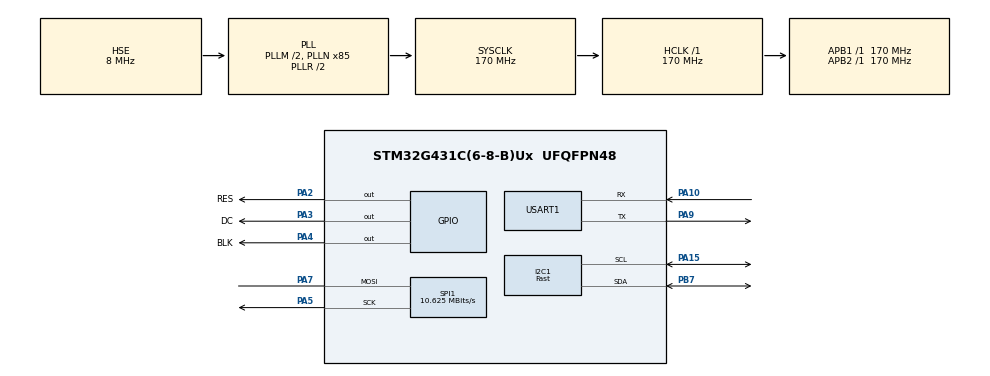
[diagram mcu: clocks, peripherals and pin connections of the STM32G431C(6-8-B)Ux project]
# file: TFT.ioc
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Dma.I2C1_RX.1.Direction=DMA_PERIPH_TO_MEMORY
Dma.I2C1_RX.1.EventEnable=DISABLE
Dma.I2C1_RX.1.Instance=DMA1_Channel2
Dma.I2C1_RX.1.MemDataAlignment=DMA_MDATAALIGN_BYTE
Dma.I2C1_RX.1.MemInc=DMA_MINC_ENABLE
Dma.I2C1_RX.1.Mode=DMA_NORMAL
Dma.I2C1_RX.1.PeriphDataAlignment=DMA_PDATAALIGN_BYTE
Dma.I2C1_RX.1.PeriphInc=DMA_PINC_DISABLE
Dma.I2C1_RX.1.Polarity=HAL_DMAMUX_REQ_GEN_RISING
Dma.I2C1_RX.1.Priority=DMA_PRIORITY_LOW
Dma.I2C1_RX.1.RequestNumber=1
Dma.I2C1_RX.1.SignalID=NONE
Dma.I2C1_RX.1.SyncEnable=DISABLE
Dma.I2C1_RX.1.SyncPolarity=HAL_DMAMUX_SYNC_NO_EVENT
Dma.I2C1_RX.1.SyncRequestNumber=1
Dma.I2C1_RX.1.SyncSignalID=NONE
Dma.I2C1_TX.0.Direction=DMA_MEMORY_TO_PERIPH
Dma.I2C1_TX.0.EventEnable=DISABLE
Dma.I2C1_TX.0.Instance=DMA1_Channel1
Dma.I2C1_TX.0.MemDataAlignment=DMA_MDATAALIGN_BYTE
Dma.I2C1_TX.0.MemInc=DMA_MINC_ENABLE
Dma.I2C1_TX.0.Mode=DMA_NORMAL
Dma.I2C1_TX.0.PeriphDataAlignment=DMA_PDATAALIGN_BYTE
Dma.I2C1_TX.0.PeriphInc=DMA_PINC_DISABLE
Dma.I2C1_TX.0.Polarity=HAL_DMAMUX_REQ_GEN_RISING
Dma.I2C1_TX.0.Priority=DMA_PRIORITY_LOW
Dma.I2C1_TX.0.RequestNumber=1
Dma.I2C1_TX.0.SignalID=NONE
Dma.I2C1_TX.0.SyncEnable=DISABLE
Dma.I2C1_TX.0.SyncPolarity=HAL_DMAMUX_SYNC_NO_EVENT
Dma.I2C1_TX.0.SyncRequestNumber=1
Dma.I2C1_TX.0.SyncSignalID=NONE
Dma.Request0=I2C1_TX
Dma.Request1=I2C1_RX
I2C1.CustomTiming=Disabled
I2C1.I2C_Speed_Mode=I2C_Fast
I2C1.Speed=400
I2C1.Timing=0x40621236
Mcu.Family=STM32G4
Mcu.Name=STM32G431C(6-8-B)Ux
Mcu.Package=UFQFPN48
NVIC.DMA1_Channel1_IRQn=true\:1\:0\:true\:false\:true\:false\:true\:true
NVIC.DMA1_Channel2_IRQn=true\:1\:0\:true\:false\:true\:false\:true\:true
NVIC.I2C1_ER_IRQn=true\:2\:0\:true\:false\:true\:true\:true\:true
NVIC.I2C1_EV_IRQn=true\:2\:0\:true\:false\:true\:true\:true\:true
NVIC.PriorityGroup=NVIC_PRIORITYGROUP_2
NVIC.TIM6_DAC_IRQn=true\:2\:2\:true\:false\:true\:true\:true\:true
PA10.GPIO_Speed=GPIO_SPEED_FREQ_VERY_HIGH
PA10.Mode=Asynchronous
PA10.Signal=USART1_RX
PA13.Mode=Serial_Wire
PA13.Signal=SYS_JTMS-SWDIO
PA14.Mode=Serial_Wire
PA14.Signal=SYS_JTCK-SWCLK
PA15.Mode=I2C
PA15.Signal=I2C1_SCL
PA2.GPIO_Label=RES
PA2.GPIO_PuPd=GPIO_PULLUP
PA2.GPIO_Speed=GPIO_SPEED_FREQ_VERY_HIGH
PA2.PinState=GPIO_PIN_SET
PA2.Signal=GPIO_Output
PA3.GPIO_Label=DC
PA3.GPIO_PuPd=GPIO_PULLUP
PA3.GPIO_Speed=GPIO_SPEED_FREQ_VERY_HIGH
PA3.PinState=GPIO_PIN_SET
PA3.Signal=GPIO_Output
PA4.GPIO_Label=BLK
PA4.GPIO_PuPd=GPIO_PULLUP
PA4.GPIO_Speed=GPIO_SPEED_FREQ_VERY_HIGH
PA4.PinState=GPIO_PIN_SET
PA4.Signal=GPIO_Output
PA5.Mode=Simplex_Bidirectional_Master
PA5.Signal=SPI1_SCK
PA7.Mode=Simplex_Bidirectional_Master
PA7.Signal=SPI1_MOSI
PA9.GPIO_Speed=GPIO_SPEED_FREQ_VERY_HIGH
PA9.Mode=Asynchronous
PA9.Signal=USART1_TX
PB7.Mode=I2C
PB7.Signal=I2C1_SDA
PF0-OSC_IN.Mode=HSE-External-Oscillator
PF0-OSC_IN.Signal=RCC_OSC_IN
PF1-OSC_OUT.Mode=HSE-External-Oscillator
PF1-OSC_OUT.Signal=RCC_OSC_OUT
ProjectManager.HeapSize=0x200
ProjectManager.StackSize=0x400
ProjectManager.TargetToolchain=MDK-ARM V5.32
RCC.ADC12Freq_Value=170000000
RCC.AHBFreq_Value=170000000
RCC.APB1Freq_Value=170000000
RCC.APB1TimFreq_Value=170000000
RCC.APB2Freq_Value=170000000
RCC.APB2TimFreq_Value=170000000
RCC.CortexFreq_Value=170000000
RCC.EXTERNAL_CLOCK_VALUE=12288000
RCC.HCLKFreq_Value=170000000
RCC.HSE_VALUE=8000000
RCC.HSI48_VALUE=48000000
RCC.HSI_VALUE=16000000
RCC.LSE_VALUE=32768
RCC.PLLM=RCC_PLLM_DIV2
RCC.PLLN=85
RCC.PLLSourceVirtual=RCC_PLLSOURCE_HSE
RCC.SYSCLKFreq_VALUE=170000000
RCC.SYSCLKSource=RCC_SYSCLKSOURCE_PLLCLK
RCC.USBFreq_Value=170000000
RCC.VCOOutputFreq_Value=340000000
SPI1.BaudRatePrescaler=SPI_BAUDRATEPRESCALER_16
SPI1.CalculateBaudRate=10.625 MBits/s
SPI1.DataSize=SPI_DATASIZE_8BIT
SPI1.Direction=SPI_DIRECTION_1LINE
SPI1.Mode=SPI_MODE_MASTER
SPI1.VirtualType=VM_MASTER
TIM6.AutoReloadPreload=TIM_AUTORELOAD_PRELOAD_ENABLE
TIM6.PeriodNoDither=1000 - 1
TIM6.Prescaler=170 - 1
USART1.VirtualMode-Asynchronous=VM_ASYNC
VP_SYS_VS_DBSignals.Mode=DisableDeadBatterySignals
VP_TIM6_VS_ClockSourceINT.Mode=Enable_Timer
board=custom

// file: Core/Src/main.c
/* USER CODE BEGIN Header */
/**
  ******************************************************************************
  * @file           : main.c
  * @brief          : Main program body
  ******************************************************************************
  * @attention
  *
  * Copyright (c) 2025 STMicroelectronics.
  * All rights reserved.
  *
  * This software is licensed under terms that can be found in the LICENSE file
  * in the root directory of this software component.
  * If no LICENSE file comes with this software, it is provided AS-IS.
  *
  ******************************************************************************
  */
/* USER CODE END Header */
#include "main.h"
#include "dma.h"
#include "i2c.h"
#include "spi.h"
#include "tim.h"
#include "usart.h"
#include "gpio.h"

void SystemClock_Config(void);

/* USER CODE BEGIN 0 */
#include <stdio.h>
#include "../BSP/LCD/lcd.h"
#include "../BSP/LCD/pic.h"
#include "../BSP/AS5600/as5600.h"
#include "../BSP/KEY/key.h"
/* USER CODE END 0 */

int main(void)
{

  /* MCU Configuration--------------------------------------------------------*/

  /* Reset of all peripherals, Initializes the Flash interface and the Systick. */
  HAL_Init();

  /* Configure the system clock */
  SystemClock_Config();

  /* Initialize all configured peripherals */
  MX_GPIO_Init();
  MX_DMA_Init();
  MX_SPI1_Init();
  MX_USART1_UART_Init();
  MX_I2C1_Init();
  MX_TIM6_Init();
  /* USER CODE BEGIN 2 */
//	LCD_Init();
//	LCD_Fill(0,0,LCD_W,LCD_H,WHITE);

	keyInit();
	uint8_t i,j;
	double  t=0;
	LCD_Init();
	LCD_Fill(0,0,LCD_W,LCD_H,BLACK);
	LCD_ShowString(10,10,"ST7789 OK",RED,BLACK,16,0);
	printf("hello world\r\n");

	HAL_Delay(1000);
	uint8_t status;
	HAL_I2C_Mem_Read(&hi2c1, AS5600_ADDRESS, 0x0B, I2C_MEMADD_SIZE_8BIT, &status, 1, 100);
	printf("STATUS = 0x%02X  MD=%d ML=%d MH=%d\n",  status,
													(status >> 5) & 1,
													(status >> 6) & 1,
													(status >> 7) & 1);
	if (status & 0x80)
	{
		printf("MH=1 磁场太强！角度无效\n");
	}
	else if (status & 0x40)
	{
		printf("ML=1 磁场太弱！角度不准\n");
	}
	else if (!(status & 0x20))
	{
		printf("MD=0 数据未更新\n");
	}
	else
	{
		printf("磁场正常，可以读角度\n");
	}
	as5600SetZeroPosition();
	as5600ReadDMA(Angle_Hight_Register_Addr, data, DATA_SIZE);  // 启动I2C DMA接收
  /* USER CODE END 2 */

  /* Infinite loop */
  while (1)
  {

    /* USER CODE BEGIN 3 */
//    LCD_ShowChinese(0,0,"zjydz",RED,WHITE,32,0);
//	LCD_ShowString(0,40,"LCD_W:",RED,WHITE,16,0);
//	LCD_ShowIntNum(48,40,LCD_W,3,RED,WHITE,16);
//	LCD_ShowString(80,40,"LCD_H:",RED,WHITE,16,0);
//	LCD_ShowIntNum(128,40,LCD_H,3,RED,WHITE,16);
//	LCD_ShowString(80,40,"LCD_H:",RED,WHITE,16,0);
//	LCD_ShowString(0,70,"Increaseing Nun:",RED,WHITE,16,0);
//	LCD_ShowFloatNum1(128,70,t,4,RED,WHITE,16);
//	t+=0.11;
//	for(j=0;j<3;j++)
//	{
//		for(i=0;i<6;i++)
//		{
//			LCD_ShowPicture(40*i,120+j*40,40,40,gImage_1);
//		}
//	}
//
    //我的硬件是逆时针递减  即使DIR是3.3 应该是磁环安装反了 但是我的硬件没办法拆下磁环
//	printf("angleWithoutCircle:%.4f\r\nangleWithoutCircle:%.4f\r\nfullRotations:%d\r\n", angleWithoutCircle, angleWithCircle, fullRotations);
//	HAL_Delay(100);

//按键按住不放测试，有点类似重复，但重复是有规律的进行判断按键，这里则不是，只要按下就会进入if
//	if (keyCheck(KEY_1, KEY_HOLD))
//	{
//		printf("KEY1_HOLD\r\n");
//	}
//	if (keyCheck(KEY_2, KEY_HOLD))
//	{
//		printf("KEY2_HOLD\r\n");
//	}
//	if (keyCheck(KEY_3, KEY_HOLD))
//	{
//		printf("KEY3_HOLD\r\n");
//	}
//	if (keyCheck(KEY_4, KEY_HOLD))
//	{
//		printf("KEY4_HOLD\r\n");
//	}
//	if (keyCheck(KEY_5, KEY_HOLD))
//	{
//		printf("KEY5_HOLD\r\n");
//	}
//	if (keyCheck(KEY_6, KEY_HOLD))
//	{
//		printf("KEY6_HOLD\r\n");
//	}
//	if (keyCheck(KEY_7, KEY_HOLD))
//	{
//		printf("KEY7_HOLD\r\n");
//	}
//	if (keyCheck(KEY_8, KEY_HOLD))
//	{
//		printf("KEY8_HOLD\r\n");
//	}
//按键弹起测试
//	if (keyCheck(KEY_1, KEY_UP))
//	{
//		printf("KEY1_UP\r\n");
//	}
//	if (keyCheck(KEY_2, KEY_UP))
//	{
//		printf("KEY2_UP\r\n");
//	}
//	if (keyCheck(KEY_3, KEY_UP))
//	{
//		printf("KEY3_UP\r\n");
//	}
//	if (keyCheck(KEY_4, KEY_UP))
//	{
//		printf("KEY4_UP\r\n");
//	}
//	if (keyCheck(KEY_5, KEY_UP))
//	{
//		printf("KEY5_UP\r\n");
//	}
//	if (keyCheck(KEY_6, KEY_UP))
//	{
//		printf("KEY6_UP\r\n");
//	}
//	if (keyCheck(KEY_7, KEY_UP))
//	{
//		printf("KEY7_UP\r\n");
//	}
//	if (keyCheck(KEY_8, KEY_UP))
//	{
//		printf("KEY8_UP\r\n");
//	}
//按键按下测试
//	if (keyCheck(KEY_1, KEY_DOWN))
//	{
//		printf("KEY1_DOWN\r\n");
//	}
//	if (keyCheck(KEY_2, KEY_DOWN))
//	{
//		printf("KEY2_DOWN\r\n");
//	}
//	if (keyCheck(KEY_3, KEY_DOWN))
//	{
//		printf("KEY3_DOWN\r\n");
//	}
//	if (keyCheck(KEY_4, KEY_DOWN))
//	{
//		printf("KEY4_DOWN\r\n");
//	}
//	if (keyCheck(KEY_5, KEY_DOWN))
//	{
//		printf("KEY5_DOWN\r\n");
//	}
//	if (keyCheck(KEY_6, KEY_DOWN))
//	{
//		printf("KEY6_DOWN\r\n");
//	}
//	if (keyCheck(KEY_7, KEY_DOWN))
//	{
//		printf("KEY7_DOWN\r\n");
//	}
//	if (keyCheck(KEY_8, KEY_DOWN))
//	{
//		printf("KEY8_DOWN\r\n");
//	}
//按键单击测试
//	if (keyCheck(KEY_1, KEY_SINGLE))
//	{
//		printf("KEY1_SINGLE\r\n");
//	}
//	if (keyCheck(KEY_2, KEY_SINGLE))
//	{
//		printf("KEY2_SINGLE\r\n");
//	}
//	if (keyCheck(KEY_3, KEY_SINGLE))
//	{
//		printf("KEY3_SINGLE\r\n");
//	}
//	if (keyCheck(KEY_4, KEY_SINGLE))
//	{
//		printf("KEY4_SINGLE\r\n");
//	}
//	if (keyCheck(KEY_5, KEY_SINGLE))
//	{
//		printf("KEY5_SINGLE\r\n");
//	}
//	if (keyCheck(KEY_6, KEY_SINGLE))
//	{
//		printf("KEY6_SINGLE\r\n");
//	}
//	if (keyCheck(KEY_7, KEY_SINGLE))
//	{
//		printf("KEY7_SINGLE\r\n");
//	}
//	if (keyCheck(KEY_8, KEY_SINGLE))
//	{
//		printf("KEY8_SINGLE\r\n");
//	}
//按键双击测试
//	if (keyCheck(KEY_1, KEY_DOUBLE))
//	{
//		printf("KEY1_DOUBLE\r\n");
//	}
//	if (keyCheck(KEY_2, KEY_DOUBLE))
//	{
//		printf("KEY2_DOUBLE\r\n");
//	}
//	if (keyCheck(KEY_3, KEY_DOUBLE))
//	{
//		printf("KEY3_DOUBLE\r\n");
//	}
//	if (keyCheck(KEY_4, KEY_DOUBLE))
//	{
//		printf("KEY4_DOUBLE\r\n");
//	}
//	if (keyCheck(KEY_5, KEY_DOUBLE))
//	{
//		printf("KEY5_DOUBLE\r\n");
//	}
//	if (keyCheck(KEY_6, KEY_DOUBLE))
//	{
//		printf("KEY6_DOUBLE\r\n");
//	}
//	if (keyCheck(KEY_7, KEY_DOUBLE))
//	{
//		printf("KEY7_DOUBLE\r\n");
//	}
//	if (keyCheck(KEY_8, KEY_DOUBLE))
//	{
//		printf("KEY8_DOUBLE\r\n");
//	}
//按键长按测试
//	if (keyCheck(KEY_1, KEY_LONG))
//	{
//		printf("KEY1_LONG\r\n");
//	}
//	if (keyCheck(KEY_2, KEY_LONG))
//	{
//		printf("KEY2_LONG\r\n");
//	}
//	if (keyCheck(KEY_3, KEY_LONG))
//	{
//		printf("KEY3_LONG\r\n");
//	}
//	if (keyCheck(KEY_4, KEY_LONG))
//	{
//		printf("KEY4_LONG\r\n");
//	}
//	if (keyCheck(KEY_5, KEY_LONG))
//	{
//		printf("KEY5_LONG\r\n");
//	}
//	if (keyCheck(KEY_6, KEY_LONG))
//	{
//		printf("KEY6_LONG\r\n");
//	}
//	if (keyCheck(KEY_7, KEY_LONG))
//	{
//		printf("KEY7_LONG\r\n");
//	}
//	if (keyCheck(KEY_8, KEY_LONG))
//	{
//		printf("KEY8_LONG\r\n");
//	}
//按键重复测试
	 if (keyCheck(KEY_1, KEY_REPEAT))
	 {
		 printf("KEY1_REPEAT\r\n");
	 }
	 if (keyCheck(KEY_2, KEY_REPEAT))
	 {
		 printf("KEY2_REPEAT\r\n");
	 }
	 if (keyCheck(KEY_3, KEY_REPEAT))
	 {
		 printf("KEY3_REPEAT\r\n");
	 }
	 if (keyCheck(KEY_4, KEY_REPEAT))
	 {
		 printf("KEY4_REPEAT\r\n");
	 }
	 if (keyCheck(KEY_5, KEY_REPEAT))
	 {
		 printf("KEY5_REPEAT\r\n");
	 }
	 if (keyCheck(KEY_6, KEY_REPEAT))
	 {
		 printf("KEY6_REPEAT\r\n");
	 }
	 if (keyCheck(KEY_7, KEY_REPEAT))
	 {
		 printf("KEY7_REPEAT\r\n");
	 }
	 if (keyCheck(KEY_8, KEY_REPEAT))
	 {
		 printf("KEY8_REPEAT\r\n");
	 }
  }
  /* USER CODE END 3 */
}

void SystemClock_Config(void)
{
  RCC_OscInitTypeDef RCC_OscInitStruct = {0};
  RCC_ClkInitTypeDef RCC_ClkInitStruct = {0};

  /** Configure the main internal regulator output voltage
  */
  HAL_PWREx_ControlVoltageScaling(PWR_REGULATOR_VOLTAGE_SCALE1_BOOST);

  /** Initializes the RCC Oscillators according to the specified parameters
  * in the RCC_OscInitTypeDef structure.
  */
  RCC_OscInitStruct.OscillatorType = RCC_OSCILLATORTYPE_HSE;
  RCC_OscInitStruct.HSEState = RCC_HSE_ON;
  RCC_OscInitStruct.PLL.PLLState = RCC_PLL_ON;
  RCC_OscInitStruct.PLL.PLLSource = RCC_PLLSOURCE_HSE;
  RCC_OscInitStruct.PLL.PLLM = RCC_PLLM_DIV2;
  RCC_OscInitStruct.PLL.PLLN = 85;
  RCC_OscInitStruct.PLL.PLLP = RCC_PLLP_DIV2;
  RCC_OscInitStruct.PLL.PLLQ = RCC_PLLQ_DIV2;
  RCC_OscInitStruct.PLL.PLLR = RCC_PLLR_DIV2;
  if (HAL_RCC_OscConfig(&RCC_OscInitStruct) != HAL_OK)
  {
    Error_Handler();
  }

  /** Initializes the CPU, AHB and APB buses clocks
  */
  RCC_ClkInitStruct.ClockType = RCC_CLOCKTYPE_HCLK|RCC_CLOCKTYPE_SYSCLK
                              |RCC_CLOCKTYPE_PCLK1|RCC_CLOCKTYPE_PCLK2;
  RCC_ClkInitStruct.SYSCLKSource = RCC_SYSCLKSOURCE_PLLCLK;
  RCC_ClkInitStruct.AHBCLKDivider = RCC_SYSCLK_DIV1;
  RCC_ClkInitStruct.APB1CLKDivider = RCC_HCLK_DIV1;
  RCC_ClkInitStruct.APB2CLKDivider = RCC_HCLK_DIV1;

  if (HAL_RCC_ClockConfig(&RCC_ClkInitStruct, FLASH_LATENCY_4) != HAL_OK)
  {
    Error_Handler();
  }
}

void Error_Handler(void)
{
  __disable_irq();
  while (1)
  {
  }
}
